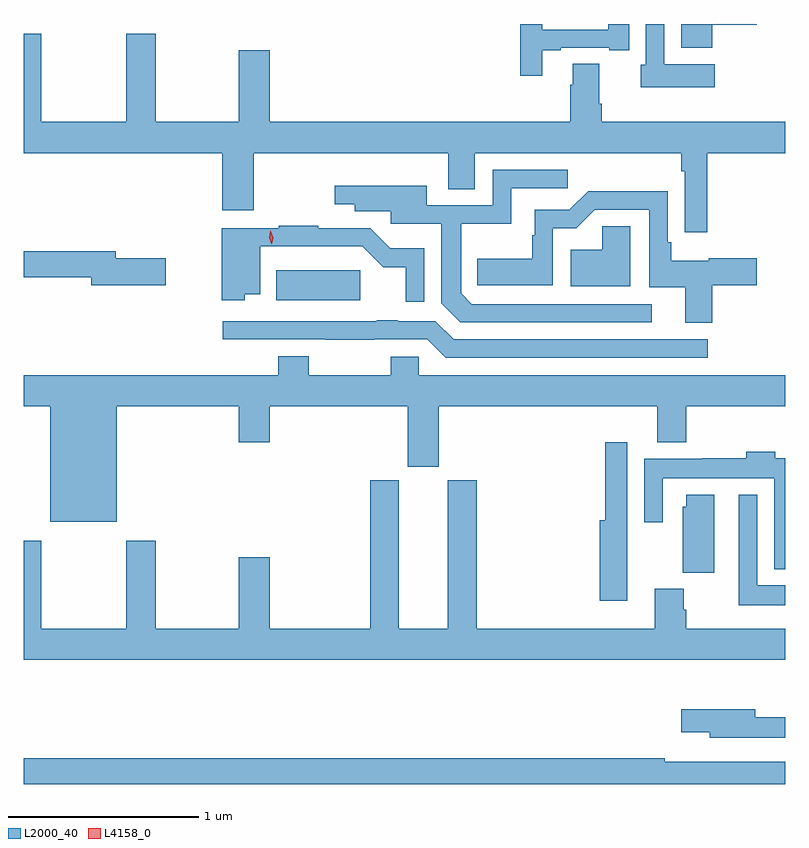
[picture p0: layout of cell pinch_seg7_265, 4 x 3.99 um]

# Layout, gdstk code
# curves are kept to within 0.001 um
import gdstk
lib = gdstk.Library(unit=1e-6, precision=1e-09)
def R(c, l, rs):  # rectangles x0, y0, x1, y1
    for r in rs: c.add(gdstk.rectangle(r[:2], r[2:], *l))
def P(c, l, *ps):  # polygons
    for p in ps: c.add(gdstk.Polygon(p, *l))
L2000_40 = (2000, 40)
L4158_0 = (4158, 0)

pinch_seg7_265 = lib.new_cell('pinch_seg7_265')
R(pinch_seg7_265, L2000_40, [(668.702,1043.798,669.142,1043.956)])
P(pinch_seg7_265, L2000_40, [(670.099,1045.113),(670.195,1045.113),(670.195,1045.125),(670.451,1045.125),(670.451,1045.113),(670.555,1045.113),(670.555,1045.25),(670.445,1045.25),(670.445,1045.221),(670.098,1045.221),(670.098,1045.25),(669.982,1045.25),(669.982,1044.978),(670.099,1044.978)],
  [(670.991,1045.247),(671.227,1045.247),(671.227,1045.25),(670.829,1045.25),(670.829,1045.124),(670.991,1045.124)],
  [(671.005,1045.039),(670.74,1045.039),(670.74,1045.25),(670.644,1045.25),(670.644,1045.035),(670.616,1045.035),(670.616,1044.917),(671.005,1044.917)],
  [(670.399,1044.832),(670.399,1045.04),(670.259,1045.04),(670.259,1044.932),(670.247,1044.932),(670.247,1044.736),(668.668,1044.736),(668.668,1045.111),(668.504,1045.111),(668.504,1044.736),(668.067,1044.736),(668.067,1045.198),(667.912,1045.198),(667.912,1044.736),(667.467,1044.736),(667.467,1045.198),(667.375,1045.198),(667.375,1044.572),(668.417,1044.572),(668.417,1044.27),(668.582,1044.27),(668.582,1044.572),(669.605,1044.572),(669.605,1044.382),(669.745,1044.382),(669.745,1044.572),(670.83,1044.572),(670.83,1044.476),(670.847,1044.476),(670.847,1044.156),(670.966,1044.156),(670.966,1044.572),(671.375,1044.572),(671.375,1044.736),(670.412,1044.736),(670.412,1044.832)],
  [(670.675,1043.778),(669.729,1043.778),(669.672,1043.835),(669.672,1044.2),(669.936,1044.2),(669.936,1044.388),(670.234,1044.388),(670.234,1044.483),(669.84,1044.483),(669.84,1044.297),(669.493,1044.297),(669.493,1044.4),(669.009,1044.4),(669.009,1044.303),(669.113,1044.303),(669.113,1044.266),(669.303,1044.266),(669.303,1044.201),(669.569,1044.201),(669.569,1043.782),(669.669,1043.682),(670.675,1043.682)],
  [(670.991,1043.878),(671.227,1043.878),(671.227,1044.02),(670.974,1044.02),(670.974,1044.007),(670.778,1044.007),(670.778,1044.103),(670.758,1044.103),(670.758,1044.371),(670.34,1044.371),(670.242,1044.273),(670.059,1044.273),(670.059,1044.141),(670.047,1044.141),(670.047,1044.016),(669.758,1044.016),(669.758,1043.877),(670.155,1043.876),(670.155,1044.177),(670.278,1044.177),(670.374,1044.273),(670.662,1044.273),(670.662,1043.867),(670.85,1043.867),(670.85,1043.679),(670.991,1043.679)],
  [(669.48,1044.072),(669.299,1044.072),(669.194,1044.177),(668.921,1044.177),(668.921,1044.19),(668.713,1044.19),(668.713,1044.177),(668.414,1044.177),(668.414,1043.798),(668.536,1043.798),(668.536,1043.831),(668.617,1043.831),(668.617,1044.081),(669.153,1044.081),(669.263,1043.971),(669.382,1043.971),(669.382,1043.79),(669.48,1043.79)],
  [(670.561,1044.187),(670.414,1044.187),(670.414,1044.064),(670.25,1044.064),(670.25,1043.873),(670.561,1043.873)],
  [(668.119,1044.02),(667.858,1044.02),(667.858,1044.056),(667.375,1044.056),(667.375,1043.92),(667.73,1043.92),(667.73,1043.878),(668.119,1043.878)],
  [(670.969,1043.592),(669.633,1043.592),(669.537,1043.688),(669.34,1043.688),(669.34,1043.693),(669.229,1043.693),(669.229,1043.688),(668.421,1043.688),(668.421,1043.592),(669.495,1043.592),(669.591,1043.496),(670.969,1043.496)],
  [(667.864,1043.24),(668.504,1043.24),(668.504,1043.052),(668.668,1043.052),(668.668,1043.24),(669.392,1043.24),(669.392,1042.923),(669.556,1042.923),(669.556,1043.24),(670.703,1043.24),(670.703,1043.051),(670.856,1043.051),(670.856,1043.24),(671.375,1043.24),(671.375,1043.404),(669.45,1043.404),(669.45,1043.502),(669.304,1043.502),(669.304,1043.404),(668.871,1043.404),(668.871,1043.503),(668.711,1043.503),(668.711,1043.404),(667.375,1043.404),(667.375,1043.24),(667.514,1043.24),(667.514,1042.634),(667.864,1042.634)],
  [(670.546,1042.538),(670.545,1042.538),(670.545,1043.053),(670.429,1043.053),(670.429,1042.642),(670.4,1042.642),(670.4,1042.218),(670.546,1042.218)],
  [(671.375,1042.969),(671.323,1042.969),(671.323,1043.002),(671.171,1043.002),(671.171,1042.969),(670.939,1042.969),(670.939,1042.966),(670.635,1042.966),(670.635,1042.632),(670.731,1042.632),(670.731,1042.862),(671.319,1042.862),(671.319,1042.385),(671.375,1042.385)],
  [(671.375,1042.072),(670.856,1042.072),(670.856,1042.172),(670.843,1042.172),(670.843,1042.281),(670.691,1042.281),(670.691,1042.072),(669.755,1042.072),(669.755,1042.851),(669.602,1042.851),(669.602,1042.072),(669.346,1042.072),(669.346,1042.851),(669.194,1042.851),(669.194,1042.072),(668.668,1042.072),(668.668,1042.447),(668.504,1042.447),(668.504,1042.072),(668.067,1042.072),(668.067,1042.534),(667.912,1042.534),(667.912,1042.072),(667.467,1042.072),(667.467,1042.534),(667.375,1042.534),(667.375,1041.908),(671.375,1041.908)],
  [(671.375,1042.3),(671.229,1042.3),(671.229,1042.777),(671.132,1042.777),(671.132,1042.196),(671.375,1042.196)],
  [(671.002,1042.777),(670.856,1042.777),(670.856,1042.713),(670.838,1042.713),(670.838,1042.366),(671.002,1042.366)],
  [(671.375,1041.607),(671.218,1041.607),(671.218,1041.649),(670.83,1041.649),(670.83,1041.527),(670.979,1041.527),(670.979,1041.498),(671.375,1041.498)],
  [(671.375,1041.372),(670.742,1041.372),(670.742,1041.392),(667.375,1041.392),(667.375,1041.256),(671.375,1041.256)])
P(pinch_seg7_265, L4158_0, [(668.677,1044.092),(668.677,1044.092),(668.664,1044.126),(668.67,1044.162),(668.671,1044.163),(668.671,1044.162),(668.684,1044.128),(668.677,1044.092)])

lib.write_gds('pinch_seg7_265.gds')
